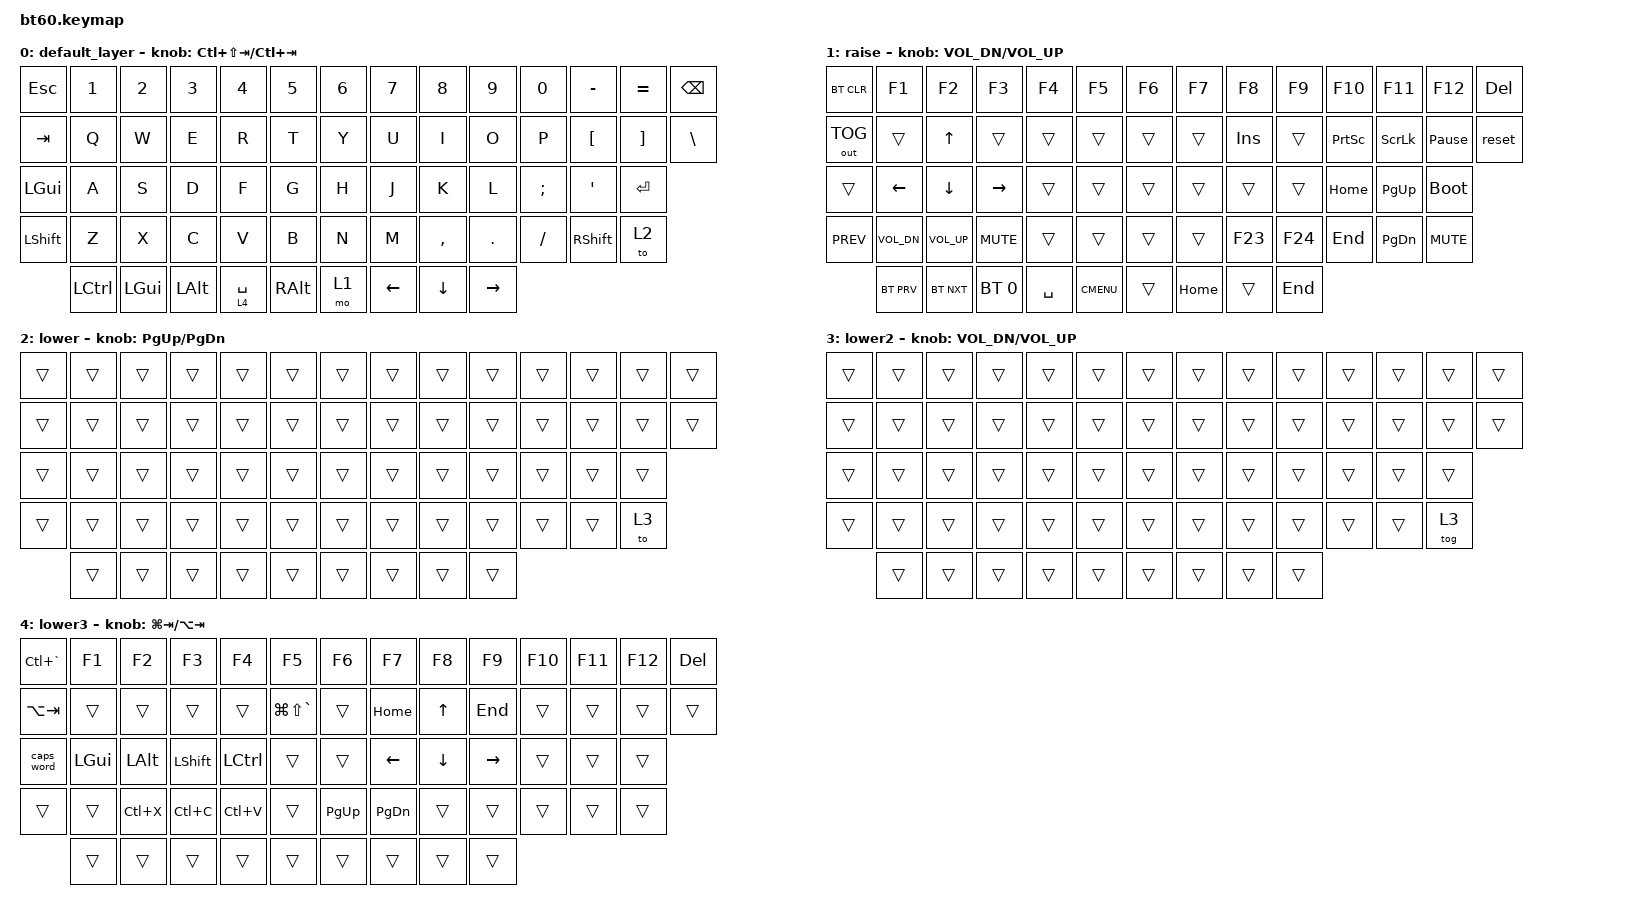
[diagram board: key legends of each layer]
#include <behaviors.dtsi>
#include <dt-bindings/zmk/keys.h>
#include <dt-bindings/zmk/bt.h>
#include <dt-bindings/zmk/outputs.h>


//#include <dt-bindings/zmk/dynamic-macros.h>
//#include <dt-bindings/zmk/mouse.h>

// Encoder resolutions
&left_encoder   { resolution = <2>; };

/ {
    combos {
        compatible = "zmk,combos";
        combo_grave {
            timeout-ms = <50>;
            key-positions = <0 1>;
            bindings = <&kp GRAVE>;
        };
        combo_del {
            timeout-ms = <50>;
            key-positions = <12 13>;
            bindings = <&kp DELETE>;
        };
        combo_up {
            timeout-ms = <50>;
            key-positions = <61 62>;
            bindings = <&kp UP>;
        };
//        combo_jk {
//            timeout-ms = <30>;
//            key-positions = <35 36>;
//            bindings = <&kp RIGHT_ARROW>;
//        };
    };
};

/ {
	behavoirs {
	gqt: global-quick-tap {
		compatible = "zmk,behavior-hold-tap";
		label = "GLOBAL_QUICK_TAP";
		#binding-cells = <2>;
		flavor = "tap-preferred";
		tapping-term-ms = <200>;
		quick-tap-ms = <125>;
		global-quick-tap;
		bindings = <&mo>, <&kp>;
		};
	td0: tap_dance_0 {
            compatible = "zmk,behavior-tap-dance";
            label = "TAP_DANCE_0";
            #binding-cells = <0>;
            tapping-term-ms = <200>;
            bindings = <&mo 2>, <&mo 3>;
        };
	};
    macros {
//        win_shift_grave: win_shift_grave {
//            label = "win_shift_grave";
//            compatible = "zmk,behavior-macro";
//            #binding-cells = <0>;
//	    wait-ms = <40>;
//	    tap-ms = <40>;
//            bindings
//                = <&macro_press &kp LGUI &kp LSHFT>
//                , <&macro_tap &kp GRAVE>
//                , <&macro_release &kp LGUI &kp LSHFT>
//                ;
//        };
//	  dm1: dm1 {
//              compatible = "zmk,behavior-dynamic-macro";
//              label = "dynamic-macro-1";
//                          wait-ms = <10>;
//              #binding-cells = <1>;
//        };
    };
        keymap {
                compatible = "zmk,keymap";

                default_layer {
                                // ------------------------------------------------------------------------------------------
                                // | ESC |  1  |  2  |  3  |  4  |  5  |  6  |  7  |  8  |  9  |  0  |  -  |  =  |   BKSP   |
                                // | TAB  |  Q  |  W  |  E  |  R  |  T  |  Y  |  U  |  I  |  O  |  P  |  [  |  ]  |   "|"   |
                                // | CAPS  |  A  |  S  |  D  |  F  |  G  |  H  |  J  |  K  |  L  |  ;  |  '  |     ENTER    |
                                // |  SHIFT    |  Z  |  X  |  C  |  V  |  B  |  N  |  M  |  ,  |  .  | /   |     SHIFT      |
                                // |  CTL  |  WIN  |  ALT  |                     SPACE               |   ALT   |  1  | CTRL |
                                // ------------------------------------------------------------------------------------------
                        bindings = <
                                &kp ESC &kp N1 &kp N2 &kp N3 &kp N4 &kp N5 &kp N6 &kp N7 &kp  N8   &kp  N9 &kp  N0  &kp MINUS &kp EQUAL &kp BSPC
                                &kp TAB  &kp Q  &kp W  &kp E  &kp R  &kp T  &kp Y  &kp U  &kp  I    &kp  O  &kp  P   &kp LBKT &kp RBKT  &kp BSLH
                                &kp LGUI  &kp A  &kp S  &kp D  &kp F  &kp G  &kp H  &kp J  &kp  K    &kp  L  &kp SEMI &kp SQT           &kp RET
                                &kp LSHFT  &kp Z  &kp X  &kp C  &kp V  &kp B  &kp N  &kp M  &kp COMMA &kp DOT &kp FSLH    &kp RSHFT  &to 2 
                                &kp LCTRL &kp LGUI &kp LALT            &gqt 4 SPACE                         &kp RALT &mo 1 &kp LEFT &kp DOWN &kp RIGHT
                        >;
                        sensor-bindings = <&inc_dec_kp LC(LS(TAB)) LC(TAB) >;
                };
                raise {
                        bindings = <
                                &bt BT_CLR &kp F1 &kp F2 &kp F3 &kp F4 &kp F5 &kp F6 &kp F7 &kp  F8   &kp  F9 &kp  F10  &kp F11 &kp F12   &kp DEL
                                &out OUT_TOG &trans &kp UP &trans &trans &trans &trans &trans &kp INS &trans &kp PSCRN &kp SLCK &kp PAUSE_BREAK &reset
                                &trans &kp LEFT &kp DOWN &kp RIGHT &trans &trans &trans &trans &trans &trans &kp HOME  &kp PG_UP   &bootloader
                                &kp C_PREV &kp C_VOL_DN &kp C_VOL_UP &kp C_MUTE &trans &trans &trans &trans &kp F23 &kp F24 &kp END &kp PG_DN  &kp C_MUTE
                                &bt BT_PRV &bt BT_NXT  &bt BT_SEL 0          &kp SPACE                  &kp K_CMENU  &trans &kp HOME  &trans &kp END
                        >;
                        sensor-bindings = <&inc_dec_kp C_VOL_DN C_VOL_UP>;
                };
                lower {
                        bindings = <
                                &trans  &trans  &trans  &trans  &trans  &trans            &trans  &trans  &trans  &trans  &trans  &trans  &trans  &trans
                                &trans  &trans  &trans  &trans  &trans  &trans            &trans  &trans  &trans  &trans  &trans  &trans  &trans  &trans
                                &trans  &trans  &trans  &trans  &trans  &trans            &trans  &trans  &trans  &trans  &trans  &trans  &trans
                                &trans  &trans  &trans  &trans  &trans  &trans            &trans  &trans  &trans  &trans  &trans  &trans  &to 3
                                        &trans  &trans  &trans  &trans  &trans            &trans  &trans  &trans  &trans
                        >;
                        sensor-bindings = <&inc_dec_kp PAGE_UP PAGE_DOWN >;
                };
                lower2 {
                        bindings = <
                                &trans  &trans  &trans  &trans  &trans  &trans            &trans  &trans  &trans  &trans  &trans  &trans  &trans  &trans
                                &trans  &trans  &trans  &trans  &trans  &trans            &trans  &trans  &trans  &trans  &trans  &trans  &trans  &trans
                                &trans  &trans  &trans  &trans  &trans  &trans            &trans  &trans  &trans  &trans  &trans  &trans  &trans
                                &trans  &trans  &trans  &trans  &trans  &trans            &trans  &trans  &trans  &trans  &trans  &trans  &tog 3
                                        &trans  &trans  &trans  &trans  &trans            &trans  &trans  &trans  &trans
                        >;
                        sensor-bindings = <&inc_dec_kp C_VOL_DN C_VOL_UP>;
                };
                lower3 {
                        bindings = <
                                &kp LC(GRAVE)  &kp F1 &kp F2 &kp F3 &kp F4 &kp F5 &kp F6        &kp F7 &kp  F8   &kp  F9 &kp  F10  &kp F11 &kp F12  &kp DEL
                                &kp LA(TAB)  &trans   &trans  &trans &trans  &kp LG(LS(GRAVE))    &trans  &kp HOME  &kp UP  &kp END  &trans  &trans  &trans  &trans
                                &caps_word  &kp LGUI &kp LALT &kp LSHIFT &kp LCTRL &trans            &trans  &kp LEFT &kp DOWN &kp RIGHT  &trans  &trans  &trans
                                &trans  &trans  &kp LC(X)  &kp LC(C)  &kp LC(V)  &trans            &kp PG_UP  &kp PG_DN  &trans  &trans  &trans  &trans  &trans
                                        &trans  &trans  &trans  &trans  &trans            &trans  &trans  &trans  &trans
                        >;
                        sensor-bindings = <&inc_dec_kp LG(TAB) LA(TAB)>;
                };
        };
};
